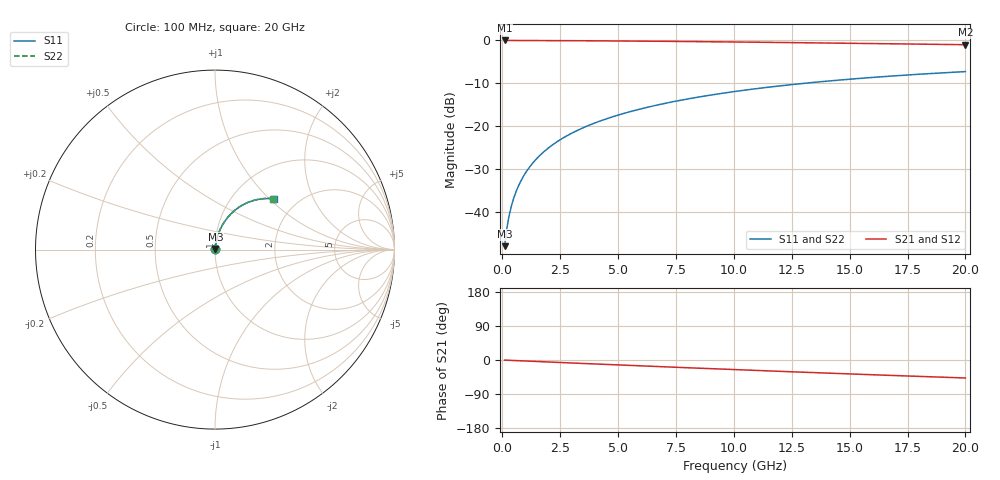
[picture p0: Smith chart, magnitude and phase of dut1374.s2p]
! Touchstone file exported from HFSS 2026.1.0
!  File:  C:/ffzhzh/LocalFiles/Ansys_Project_Files/temp_train_BSMRDL_1374_1783179445_43440.aedt
!  Generated:  11:38:52 PM Jul  4, 2026
!  Design:  BSMRDL
!  Project:  temp_train_BSMRDL_1374_1783179445_43440
! Variables:
!  h_bsmrdl = 5.93um
!  h_ox = 20um
!  h_rdl = 5um
!  h_sub = 80um
!  h_tmrdl = 5um
!  h_tsv = 80um
!  h_via = 3um
!  l_bsmrdl = 718.46um
!  l_sub = 1118.46um
!  l_tmrdl = 200um
!  m_sub = 200um
!  pitch = 45.38um
!  r_tsv = 6um
!  s_tmrdl = 10um
!  w_bsmrdl = 17.02um
!  w_sub = 500um
!  w_tmrdl = 12um
!  x_tsv_center1 = 206um
!  x_tsv_center2 = 941.48um
!  x_tsv_center3 = 1153.48um
!  x_tsv_center4 = 1888.96um
!  x_tsv_center5 = 2100.96um
!  x_tsv_center6 = 2836.44um
# GHz S MA R 50.000000
! Terminal data exported
! Port[1] = BSM_RDL1_1_T1
! Port[2] = BSM_RDL1_1_T2
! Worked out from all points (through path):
!   200 points, 100 MHz to 20 GHz, reference 50 ohm
!   highest |S21| = -0.02 dB at 100 MHz (marker M1); lowest = -1.0 dB at 20 GHz (marker M2)
!   group delay of S21, straight-line fit = 6.59 ps
!   lowest |S11| = -48.0 dB at 100 MHz (marker M3), VSWR 1.01, Z = 50.3 + j0.298 ohm
!   |S11| at or under -10 dB: start of sweep to 13.08 GHz
!   |S22| runs from -48.0 to -7.3 dB; largest |S21 - S12| = 2.4e-14
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0.1  0.003969 48.3  0.9974 -0.3  0.9974 -0.3  0.003969 48.3
! Gamma 0 0 0 0
! Port Impedance 50 0 50 0
0.2  0.006481 64.3  0.9972 -0.5  0.9972 -0.5  0.006481 64.3
0.3  0.009154 70.9  0.9971 -0.8  0.9971 -0.8  0.009154 70.9
0.4  0.01186 74.4  0.997 -1.1  0.997 -1.1  0.01186 74.4
0.5  0.01458 76.6  0.9969 -1.3  0.9969 -1.3  0.01458 76.6
0.7  0.02006 79.0  0.9967 -1.9  0.9967 -1.9  0.02006 79.0
0.8  0.02282 79.7  0.9965 -2.1  0.9965 -2.1  0.02282 79.7
1  0.02833 80.5  0.9963 -2.7  0.9963 -2.7  0.02833 80.5
1.2  0.03384 80.9  0.996 -3.2  0.996 -3.2  0.03384 80.9
1.4  0.03934 80.9  0.9956 -3.7  0.9956 -3.7  0.03934 81.0
1.7  0.04757 80.8  0.995 -4.5  0.995 -4.5  0.04757 80.8
2  0.05575 80.4  0.9943 -5.3  0.9943 -5.3  0.05575 80.4
2.7  0.07461 79.1  0.9924 -7.1  0.9924 -7.1  0.07461 79.2
3.5  0.09575 77.4  0.9898 -9.2  0.9898 -9.2  0.09575 77.4
4.2  0.1139 75.8  0.9872 -11.0  0.9872 -11.0  0.1139 75.9
5  0.1343 74.0  0.9839 -13.0  0.9839 -13.0  0.1342 74.0
6.8  0.1786 69.8  0.9756 -17.5  0.9756 -17.5  0.1786 69.9
8.3  0.214 66.4  0.9677 -21.2  0.9677 -21.2  0.214 66.4
10.1  0.2545 62.2  0.9571 -25.5  0.9571 -25.5  0.2545 62.3
13.4  0.3224 54.8  0.9356 -33.2  0.9356 -33.2  0.3224 54.9
16.7  0.3815 47.7  0.9127 -40.5  0.9127 -40.5  0.3815 47.8
20  0.4319 40.9  0.8899 -47.5  0.8899 -47.5  0.4319 41.0
